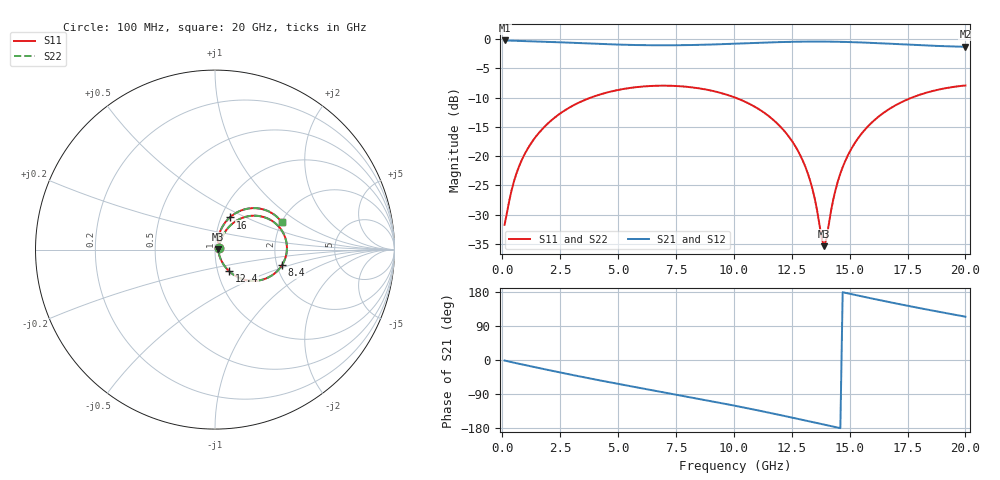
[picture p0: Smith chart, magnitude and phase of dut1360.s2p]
! Touchstone file exported from HFSS 2026.1.0
!  File:  C:/ffzhzh/LocalFiles/Ansys_Project_Files/temp_train_TSV_RDL_1360_1783341968_38704.aedt
!  Generated:  08:57:21 PM Jul  6, 2026
!  Design:  TSV_RDL
!  Project:  temp_train_TSV_RDL_1360_1783341968_38704
! Variables:
!  h_bsmrdl = 2.17um
!  h_ox = 20um
!  h_rdl = 5um
!  h_sub = 60.34um
!  h_tmrdl = 2.41um
!  h_tsv = 60.34um
!  h_via = 3um
!  l_bsmrdl = 248.01um
!  l_sub = 4173.13um
!  l_tmrdl = 720.3um
!  m_sub = 200um
!  pitch = 43.14um
!  r_tsv = 13.43um
!  s_tmrdl = 10um
!  w_bsmrdl = 25.16um
!  w_sub = 500um
!  w_tmrdl = 24.14um
!  x_tsv_center1 = 732.37um
!  x_tsv_center2 = 1005.54um
!  x_tsv_center3 = 1749.98um
!  x_tsv_center4 = 2023.15um
!  x_tsv_center5 = 2767.59um
!  x_tsv_center6 = 3040.76um
# GHz S MA R 50.000000
! Terminal data exported
! Port[1] = TM_RDL1_1_T1
! Port[2] = TM_RDL5_1_T1
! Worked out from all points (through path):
!   200 points, 100 MHz to 20 GHz, reference 50 ohm
!   highest |S21| = -0.20 dB at 100 MHz (marker M1); lowest = -1.3 dB at 20 GHz (marker M2)
!   group delay of S21, straight-line fit = 34 ps
!   lowest |S11| = -35.4 dB at 13.9 GHz (marker M3), VSWR 1.03, Z = 51.7 + j0.235 ohm
!   |S11| at or under -10 dB: start of sweep to 3.808 GHz; 10.07 GHz to 17.68 GHz (7.606 GHz wide, 54.8 % of centre)
!   |S22| runs from -35.5 to -7.9 dB; largest |S21 - S12| = 1.7e-14
!   S11 on the Smith chart (normalised r, x): 100 MHz: 1.05, +0.02; 8.4 GHz: 2.13, -0.44; 12.4 GHz: 1.14, -0.28; 16 GHz: 1.10, +0.41; 20 GHz: 2.01, +0.73
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0.1  0.02587 25.4  0.9769 -1.4  0.9769 -1.4  0.02587 25.4
! Gamma 0 0 0 0
! Port Impedance 50 0 50 0
0.6  0.07006 59.7  0.97 -8.3  0.97 -8.3  0.07001 59.7
1.2  0.125 60.0  0.962 -16.2  0.962 -16.2  0.125 60.0
2.2  0.2089 52.4  0.9472 -29.1  0.9472 -29.1  0.2089 52.4
3.5  0.2988 39.1  0.9242 -45.3  0.9242 -45.3  0.2989 39.1
5.1  0.3717 22.0  0.8994 -64.1  0.8994 -64.1  0.3717 22.0
6.8  0.4008 3.9  0.8879 -83.3  0.8879 -83.3  0.4008 3.9
8.4  0.3829 -13.2  0.8948 -101.4  0.8948 -101.4  0.3829 -13.2
10.1  0.3147 -32.0  0.9172 -121.4  0.9172 -121.4  0.3148 -32.0
11.4  0.2285 -46.5  0.9379 -137.5  0.9379 -137.5  0.2285 -46.6
12.4  0.1448 -56.7  0.9504 -150.5  0.9504 -150.5  0.1448 -56.8
13  0.08947 -60.2  0.9548 -158.4  0.9548 -158.4  0.08946 -60.4
13.4  0.05195 -57.3  0.956 -163.8  0.956 -163.8  0.0519 -57.5
13.9  0.01699 7.7  0.9555 -170.5  0.9555 -170.5  0.01675 7.6
14  0.01974 36.4  0.9551 -171.8  0.9551 -171.8  0.01953 36.7
14.3  0.04313 68.7  0.9535 -175.8  0.9535 -175.8  0.04302 69.0
14.7  0.08047 74.5  0.95 178.8  0.95 178.8  0.0804 74.7
15.3  0.1363 71.8  0.9423 170.9  0.9423 170.9  0.1363 71.9
16  0.1975 65.2  0.9305 161.8  0.9305 161.8  0.1975 65.3
16.7  0.2524 57.7  0.9168 152.9  0.9168 152.9  0.2524 57.8
18.3  0.3485 40.2  0.8851 133.6  0.8851 133.6  0.3485 40.2
20  0.4023 22.1  0.8628 114.3  0.8628 114.3  0.4024 22.1
